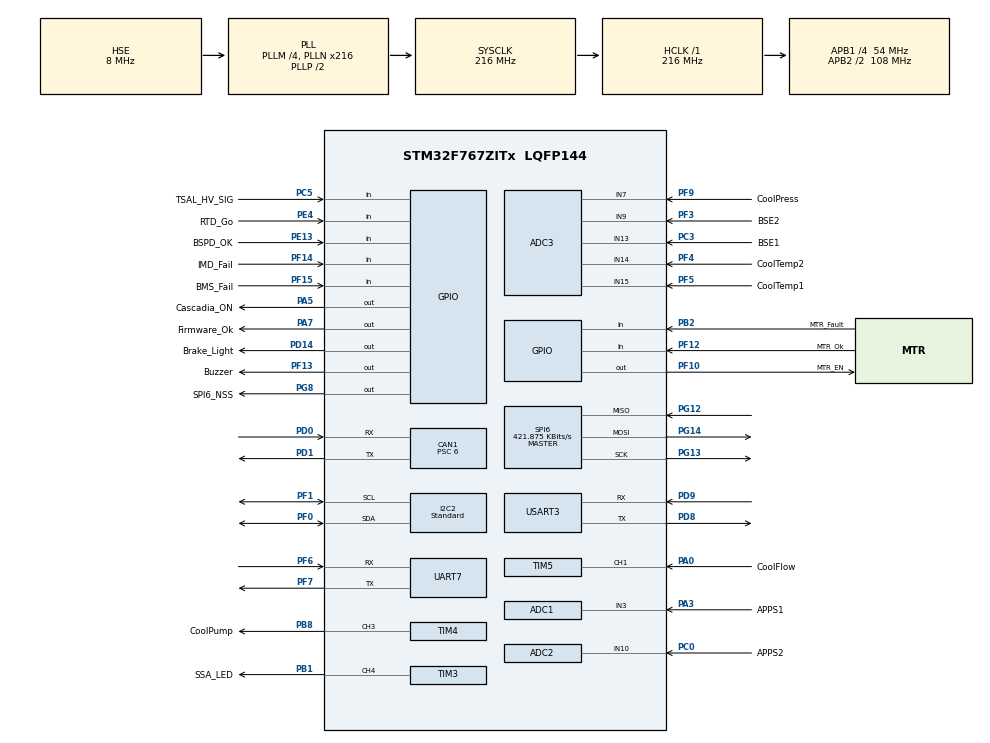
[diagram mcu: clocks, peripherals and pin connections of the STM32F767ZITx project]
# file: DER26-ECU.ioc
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ADC1.Channel-0\#ChannelRegularConversion=ADC_CHANNEL_3
ADC1.ClockPrescaler=ADC_CLOCK_SYNC_PCLK_DIV6
ADC1.NbrOfConversionFlag=1
ADC1.Rank-0\#ChannelRegularConversion=1
ADC1.SamplingTime-0\#ChannelRegularConversion=ADC_SAMPLETIME_56CYCLES
ADC1.master=1
ADC2.Channel-1\#ChannelRegularConversion=ADC_CHANNEL_10
ADC2.ClockPrescaler=ADC_CLOCK_SYNC_PCLK_DIV6
ADC2.NbrOfConversionFlag=1
ADC2.Rank-1\#ChannelRegularConversion=1
ADC2.SamplingTime-1\#ChannelRegularConversion=ADC_SAMPLETIME_56CYCLES
ADC3.Channel-0\#ChannelRegularConversion=ADC_CHANNEL_13
ADC3.ClockPrescaler=ADC_CLOCK_SYNC_PCLK_DIV6
ADC3.NbrOfConversionFlag=1
ADC3.Rank-0\#ChannelRegularConversion=1
ADC3.SamplingTime-0\#ChannelRegularConversion=ADC_SAMPLETIME_56CYCLES
CAN1.ABOM=ENABLE
CAN1.AWUM=ENABLE
CAN1.BS1=CAN_BS1_15TQ
CAN1.BS2=CAN_BS2_2TQ
CAN1.SJW=CAN_SJW_2TQ
CAN1.CalculateBaudRate=500000
CAN1.CalculateTimeBit=2000
CAN1.CalculateTimeQuantum=111.11111111111111
CAN1.NART=DISABLE
CAN1.Prescaler=6
FREERTOS.Tasks01=dev_task,24,128,dev_task_fn,As weak,NULL,Dynamic,NULL,NULL
FREERTOS.configCHECK_FOR_STACK_OVERFLOW=2
FREERTOS.configENABLE_FPU=1
FREERTOS.configUSE_NEWLIB_REENTRANT=1
I2C2.Analog_Filter=I2C_ANALOGFILTER_DISABLE
I2C2.I2C_Fall_Time=0
I2C2.I2C_Rise_Time=0
I2C2.I2C_Speed_Mode=I2C_Standard
I2C2.Timing=0x00303D5D
Mcu.Family=STM32F7
Mcu.Name=STM32F767ZITx
Mcu.Package=LQFP144
NVIC.CAN1_RX0_IRQn=true\:5\:0\:false\:false\:true\:true\:true\:true\:true
NVIC.CAN1_TX_IRQn=true\:5\:0\:false\:false\:true\:true\:true\:true\:true
NVIC.CAN1_SCE_IRQn=true\:5\:0\:false\:false\:true\:true\:true\:true\:true
NVIC.PriorityGroup=NVIC_PRIORITYGROUP_4
NVIC.TIM5_IRQn=true\:5\:0\:false\:false\:true\:true\:true\:true\:true
NVIC.TIM7_IRQn=true\:15\:0\:false\:false\:true\:false\:false\:true\:true
NVIC.TimeBase=TIM7_IRQn
NVIC.TimeBaseIP=TIM7
NVIC.UART7_IRQn=true\:5\:0\:false\:false\:true\:true\:true\:true\:true
NVIC.USART3_IRQn=true\:15\:0\:true\:false\:true\:true\:true\:true\:true
PA0/WKUP.GPIO_Label=CoolFlow
PA0/WKUP.Signal=S_TIM5_CH1
PA13.GPIO_Label=TMS
PA13.Mode=Serial_Wire
PA13.Signal=SYS_JTMS-SWDIO
PA14.GPIO_Label=TCK
PA14.Mode=Serial_Wire
PA14.Signal=SYS_JTCK-SWCLK
PA3.GPIO_Label=APPS1
PA3.Signal=ADCx_IN3
PA5.GPIO_Label=Cascadia_ON
PA5.Signal=GPIO_Output
PA7.GPIO_Label=Firmware_Ok
PA7.Signal=GPIO_Output
PB1.GPIO_Label=SSA_LED
PB1.Signal=S_TIM3_CH4
PB2.GPIO_Label=MTR_Fault
PB2.GPIO_PuPd=GPIO_PULLUP
PB2.Signal=GPIO_Input
PB3.GPIO_Label=SWO
PB3.Signal=SYS_JTDO-SWO
PB8.GPIO_Label=CoolPump
PB8.Signal=S_TIM4_CH3
PC0.GPIO_Label=APPS2
PC0.Signal=ADCx_IN10
PC14/OSC32_IN.Mode=LSE-External-Oscillator
PC14/OSC32_IN.Signal=RCC_OSC32_IN
PC15/OSC32_OUT.Mode=LSE-External-Oscillator
PC15/OSC32_OUT.Signal=RCC_OSC32_OUT
PC3.GPIO_Label=BSE1
PC3.Signal=ADCx_IN13
PC5.GPIO_Label=TSAL_HV_SIG
PC5.GPIO_PuPd=GPIO_PULLDOWN
PC5.Signal=GPIO_Input
PD0.Mode=CAN_Activate
PD0.Signal=CAN1_RX
PD1.Mode=CAN_Activate
PD1.Signal=CAN1_TX
PD14.GPIO_Label=Brake_Light
PD14.Signal=GPIO_Output
PD8.Mode=Asynchronous
PD8.Signal=USART3_TX
PD9.Mode=Asynchronous
PD9.Signal=USART3_RX
PE13.GPIO_Label=BSPD_OK
PE13.GPIO_PuPd=GPIO_PULLDOWN
PE13.Signal=GPIO_Input
PE4.GPIO_Label=RTD_Go
PE4.GPIO_PuPd=GPIO_PULLUP
PE4.Signal=GPIO_Input
PF0.Mode=I2C
PF0.Signal=I2C2_SDA
PF1.Mode=I2C
PF1.Signal=I2C2_SCL
PF10.GPIO_Label=MTR_EN
PF10.Signal=GPIO_Output
PF12.GPIO_Label=MTR_Ok
PF12.GPIO_PuPd=GPIO_PULLUP
PF12.Signal=GPIO_Input
PF13.GPIO_Label=Buzzer
PF13.Signal=GPIO_Output
PF14.GPIO_Label=IMD_Fail
PF14.GPIO_PuPd=GPIO_PULLUP
PF14.Signal=GPIO_Input
PF15.GPIO_Label=BMS_Fail
PF15.GPIO_PuPd=GPIO_PULLUP
PF15.Signal=GPIO_Input
PF3.GPIO_Label=BSE2
PF3.Mode=IN9
PF3.Signal=ADC3_IN9
PF4.GPIO_Label=CoolTemp2
PF4.Mode=IN14
PF4.Signal=ADC3_IN14
PF5.GPIO_Label=CoolTemp1
PF5.Mode=IN15
PF5.Signal=ADC3_IN15
PF6.Mode=Asynchronous
PF6.Signal=UART7_RX
PF7.Mode=Asynchronous
PF7.Signal=UART7_TX
PF9.GPIO_Label=CoolPress
PF9.Mode=IN7
PF9.Signal=ADC3_IN7
PG12.Mode=Full_Duplex_Master
PG12.Signal=SPI6_MISO
PG13.Mode=Full_Duplex_Master
PG13.Signal=SPI6_SCK
PG14.Mode=Full_Duplex_Master
PG14.Signal=SPI6_MOSI
PG8.GPIO_Label=SPI6_NSS
PG8.Signal=GPIO_Output
PH0/OSC_IN.Mode=HSE-External-Oscillator
PH0/OSC_IN.Signal=RCC_OSC_IN
PH1/OSC_OUT.Mode=HSE-External-Oscillator
PH1/OSC_OUT.Signal=RCC_OSC_OUT
ProjectManager.HeapSize=0x200
ProjectManager.StackSize=0x400
ProjectManager.TargetToolchain=STM32CubeIDE
RCC.AHBFreq_Value=216000000
RCC.APB1CLKDivider=RCC_HCLK_DIV4
RCC.APB1Freq_Value=54000000
RCC.APB1TimFreq_Value=108000000
RCC.APB2CLKDivider=RCC_HCLK_DIV2
RCC.APB2Freq_Value=108000000
RCC.APB2TimFreq_Value=216000000
RCC.CortexFreq_Value=216000000
RCC.HCLKFreq_Value=216000000
RCC.HSE_VALUE=8000000
RCC.HSI_VALUE=16000000
RCC.I2C2CLockSelection=RCC_I2C2CLKSOURCE_HSI
RCC.PLLM=4
RCC.PLLN=216
RCC.PLLSourceVirtual=RCC_PLLSOURCE_HSE
RCC.RTCClockSelection=RCC_RTCCLKSOURCE_LSE
RCC.SYSCLKFreq_VALUE=216000000
RCC.SYSCLKSource=RCC_SYSCLKSOURCE_PLLCLK
RCC.USBFreq_Value=216000000
RCC.VCOOutputFreq_Value=432000000
RTC.StoreOperation=RTC_STOREOPERATION_SET
SH.ADCx_IN10.0=ADC2_IN10,IN10
SH.ADCx_IN13.0=ADC3_IN13,IN13
SH.ADCx_IN3.0=ADC1_IN3,IN3
SH.S_TIM3_CH4.0=TIM3_CH4,PWM Generation4 CH4
SH.S_TIM4_CH3.0=TIM4_CH3,PWM Generation3 CH3
SH.S_TIM5_CH1.0=TIM5_CH1,PWM_Input_1
SPI6.BaudRatePrescaler=SPI_BAUDRATEPRESCALER_256
SPI6.CalculateBaudRate=421.875 KBits/s
SPI6.Direction=SPI_DIRECTION_2LINES
SPI6.DataSize=SPI_DATASIZE_8BIT
SPI6.NSSPMode=SPI_NSS_PULSE_DISABLE
SPI6.Mode=SPI_MODE_MASTER
SPI6.VirtualType=VM_MASTER
TIM3.AutoReloadPreload=TIM_AUTORELOAD_PRELOAD_ENABLE
TIM3.Channel-PWM\ Generation4\ CH4=TIM_CHANNEL_4
TIM4.AutoReloadPreload=TIM_AUTORELOAD_PRELOAD_ENABLE
TIM4.Channel-PWM\ Generation3\ CH3=TIM_CHANNEL_3
TIM4.ClockDivision=TIM_CLOCKDIVISION_DIV1
TIM4.Prescaler=17
TIM5.AutoReloadPreload=TIM_AUTORELOAD_PRELOAD_DISABLE
USART3.SwapParam=ADVFEATURE_SWAP_DISABLE
USART3.VirtualMode-Asynchronous=VM_ASYNC
VP_FREERTOS_VS_CMSIS_V2.Mode=CMSIS_V2
VP_RTC_VS_RTC_Activate.Mode=RTC_Enabled
VP_RTC_VS_RTC_Calendar.Mode=RTC_Calendar
VP_SYS_VS_tim7.Mode=TIM7
VP_TIM3_VS_ClockSourceINT.Mode=Internal
VP_TIM4_VS_ClockSourceINT.Mode=Internal
VP_TIM5_VS_ClockSourceINT.Mode=Internal
board=custom

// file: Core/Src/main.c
/* USER CODE BEGIN Header */
/**
  ******************************************************************************
  * @file           : main.c
  * @brief          : Main program body
  ******************************************************************************
  * @attention
  *
  * Copyright (c) 2024 STMicroelectronics.
  * All rights reserved.
  *
  * This software is licensed under terms that can be found in the LICENSE file
  * in the root directory of this software component.
  * If no LICENSE file comes with this software, it is provided AS-IS.
  *
  ******************************************************************************
  */
/* USER CODE END Header */
#include "main.h"
#include "cmsis_os.h"

/* USER CODE BEGIN Includes */
#include "app.h"
/* USER CODE END Includes */

ADC_HandleTypeDef hadc1;
ADC_HandleTypeDef hadc2;
ADC_HandleTypeDef hadc3;

CAN_HandleTypeDef hcan1;

I2C_HandleTypeDef hi2c2;

RTC_HandleTypeDef hrtc;

SPI_HandleTypeDef hspi6;

TIM_HandleTypeDef htim3;
TIM_HandleTypeDef htim4;
TIM_HandleTypeDef htim5;

UART_HandleTypeDef huart7;
UART_HandleTypeDef huart3;

/* Definitions for dev_task */
osThreadId_t dev_taskHandle;
const osThreadAttr_t dev_task_attributes = {
  .name = "dev_task",
  .stack_size = 128 * 4,
  .priority = (osPriority_t) osPriorityNormal,
};

void SystemClock_Config(void);
void dev_task_fn(void *argument);

int main(void)
{

  /* MCU Configuration--------------------------------------------------------*/

  /* Reset of all peripherals, Initializes the Flash interface and the Systick. */
  HAL_Init();

  /* Configure the system clock */
  SystemClock_Config();

  /* Initialize all configured peripherals */
  MX_GPIO_Init();
  MX_CAN1_Init();
  MX_ADC1_Init();
  MX_ADC3_Init();
  MX_SPI6_Init();
  MX_TIM5_Init();
  MX_USART3_UART_Init();
  MX_UART7_Init();
  MX_RTC_Init();
  MX_ADC2_Init();
  MX_I2C2_Init();
  MX_TIM3_Init();
  MX_TIM4_Init();

  /* Init scheduler */
  osKernelInitialize();

  /* USER CODE BEGIN RTOS_QUEUES */
  /* add queues, ... */
#if 0
  /* USER CODE END RTOS_QUEUES */

  /* Create the thread(s) */
  /* creation of dev_task */
  dev_taskHandle = osThreadNew(dev_task_fn, NULL, &dev_task_attributes);

  /* USER CODE BEGIN RTOS_THREADS */
  /* add threads, ... */
#endif
  app_create();
  ecu_watchdog_init();
  /* USER CODE END RTOS_THREADS */

  /* Start scheduler */
  osKernelStart();

  ecu_force_safe_outputs();

  /* We should never get here as control is now taken by the scheduler */

  /* Infinite loop */
  while (1)
  {

  }
}

void SystemClock_Config(void)
{
  RCC_OscInitTypeDef RCC_OscInitStruct = {0};
  RCC_ClkInitTypeDef RCC_ClkInitStruct = {0};

  /** Configure LSE Drive Capability
  */
  HAL_PWR_EnableBkUpAccess();
  __HAL_RCC_LSEDRIVE_CONFIG(RCC_LSEDRIVE_LOW);

  /** Configure the main internal regulator output voltage
  */
  __HAL_RCC_PWR_CLK_ENABLE();
  __HAL_PWR_VOLTAGESCALING_CONFIG(PWR_REGULATOR_VOLTAGE_SCALE1);

  /** Initializes the RCC Oscillators according to the specified parameters
  * in the RCC_OscInitTypeDef structure.
  */
  RCC_OscInitStruct.OscillatorType = RCC_OSCILLATORTYPE_HSI|RCC_OSCILLATORTYPE_HSE
                              |RCC_OSCILLATORTYPE_LSE;
  RCC_OscInitStruct.HSEState = RCC_HSE_ON;
  RCC_OscInitStruct.LSEState = RCC_LSE_ON;
  RCC_OscInitStruct.HSIState = RCC_HSI_ON;
  RCC_OscInitStruct.HSICalibrationValue = RCC_HSICALIBRATION_DEFAULT;
  RCC_OscInitStruct.PLL.PLLState = RCC_PLL_ON;
  RCC_OscInitStruct.PLL.PLLSource = RCC_PLLSOURCE_HSE;
  RCC_OscInitStruct.PLL.PLLM = 4;
  RCC_OscInitStruct.PLL.PLLN = 216;
  RCC_OscInitStruct.PLL.PLLP = RCC_PLLP_DIV2;
  RCC_OscInitStruct.PLL.PLLQ = 2;
  RCC_OscInitStruct.PLL.PLLR = 2;
  if (HAL_RCC_OscConfig(&RCC_OscInitStruct) != HAL_OK)
  {
    Error_Handler();
  }

  /** Activate the Over-Drive mode
  */
  if (HAL_PWREx_EnableOverDrive() != HAL_OK)
  {
    Error_Handler();
  }

  /** Initializes the CPU, AHB and APB buses clocks
  */
  RCC_ClkInitStruct.ClockType = RCC_CLOCKTYPE_HCLK|RCC_CLOCKTYPE_SYSCLK
                              |RCC_CLOCKTYPE_PCLK1|RCC_CLOCKTYPE_PCLK2;
  RCC_ClkInitStruct.SYSCLKSource = RCC_SYSCLKSOURCE_PLLCLK;
  RCC_ClkInitStruct.AHBCLKDivider = RCC_SYSCLK_DIV1;
  RCC_ClkInitStruct.APB1CLKDivider = RCC_HCLK_DIV4;
  RCC_ClkInitStruct.APB2CLKDivider = RCC_HCLK_DIV2;

  if (HAL_RCC_ClockConfig(&RCC_ClkInitStruct, FLASH_LATENCY_7) != HAL_OK)
  {
    Error_Handler();
  }
}

void MX_ADC1_Init(void)
{

  ADC_ChannelConfTypeDef sConfig = {0};

  /** Configure the global features of the ADC (Clock, Resolution, Data Alignment and number of conversion)
  */
  hadc1.Instance = ADC1;
  hadc1.Init.ClockPrescaler = ADC_CLOCK_SYNC_PCLK_DIV6;
  hadc1.Init.Resolution = ADC_RESOLUTION_12B;
  hadc1.Init.ScanConvMode = ADC_SCAN_DISABLE;
  hadc1.Init.ContinuousConvMode = DISABLE;
  hadc1.Init.DiscontinuousConvMode = DISABLE;
  hadc1.Init.ExternalTrigConvEdge = ADC_EXTERNALTRIGCONVEDGE_NONE;
  hadc1.Init.ExternalTrigConv = ADC_SOFTWARE_START;
  hadc1.Init.DataAlign = ADC_DATAALIGN_RIGHT;
  hadc1.Init.NbrOfConversion = 1;
  hadc1.Init.DMAContinuousRequests = DISABLE;
  hadc1.Init.EOCSelection = ADC_EOC_SINGLE_CONV;
  if (HAL_ADC_Init(&hadc1) != HAL_OK)
  {
    Error_Handler();
  }

  /** Configure for the selected ADC regular channel its corresponding rank in the sequencer and its sample time.
  */
  sConfig.Channel = ADC_CHANNEL_3;
  sConfig.Rank = ADC_REGULAR_RANK_1;
  sConfig.SamplingTime = ADC_SAMPLETIME_56CYCLES;
  if (HAL_ADC_ConfigChannel(&hadc1, &sConfig) != HAL_OK)
  {
    Error_Handler();
  }

}

void MX_ADC2_Init(void)
{

  ADC_ChannelConfTypeDef sConfig = {0};

  /** Configure the global features of the ADC (Clock, Resolution, Data Alignment and number of conversion)
  */
  hadc2.Instance = ADC2;
  hadc2.Init.ClockPrescaler = ADC_CLOCK_SYNC_PCLK_DIV6;
  hadc2.Init.Resolution = ADC_RESOLUTION_12B;
  hadc2.Init.ScanConvMode = ADC_SCAN_DISABLE;
  hadc2.Init.ContinuousConvMode = DISABLE;
  hadc2.Init.DiscontinuousConvMode = DISABLE;
  hadc2.Init.ExternalTrigConvEdge = ADC_EXTERNALTRIGCONVEDGE_NONE;
  hadc2.Init.ExternalTrigConv = ADC_SOFTWARE_START;
  hadc2.Init.DataAlign = ADC_DATAALIGN_RIGHT;
  hadc2.Init.NbrOfConversion = 1;
  hadc2.Init.DMAContinuousRequests = DISABLE;
  hadc2.Init.EOCSelection = ADC_EOC_SINGLE_CONV;
  if (HAL_ADC_Init(&hadc2) != HAL_OK)
  {
    Error_Handler();
  }

  /** Configure for the selected ADC regular channel its corresponding rank in the sequencer and its sample time.
  */
  sConfig.Channel = ADC_CHANNEL_10;
  sConfig.Rank = ADC_REGULAR_RANK_1;
  sConfig.SamplingTime = ADC_SAMPLETIME_56CYCLES;
  if (HAL_ADC_ConfigChannel(&hadc2, &sConfig) != HAL_OK)
  {
    Error_Handler();
  }

}

void MX_ADC3_Init(void)
{

  ADC_ChannelConfTypeDef sConfig = {0};

  /** Configure the global features of the ADC (Clock, Resolution, Data Alignment and number of conversion)
  */
  hadc3.Instance = ADC3;
  hadc3.Init.ClockPrescaler = ADC_CLOCK_SYNC_PCLK_DIV6;
  hadc3.Init.Resolution = ADC_RESOLUTION_12B;
  hadc3.Init.ScanConvMode = ADC_SCAN_DISABLE;
  hadc3.Init.ContinuousConvMode = DISABLE;
  hadc3.Init.DiscontinuousConvMode = DISABLE;
  hadc3.Init.ExternalTrigConvEdge = ADC_EXTERNALTRIGCONVEDGE_NONE;
  hadc3.Init.ExternalTrigConv = ADC_SOFTWARE_START;
  hadc3.Init.DataAlign = ADC_DATAALIGN_RIGHT;
  hadc3.Init.NbrOfConversion = 1;
  hadc3.Init.DMAContinuousRequests = DISABLE;
  hadc3.Init.EOCSelection = ADC_EOC_SINGLE_CONV;
  if (HAL_ADC_Init(&hadc3) != HAL_OK)
  {
    Error_Handler();
  }

  /** Configure for the selected ADC regular channel its corresponding rank in the sequencer and its sample time.
  */
  sConfig.Channel = ADC_CHANNEL_13;
  sConfig.Rank = ADC_REGULAR_RANK_1;
  sConfig.SamplingTime = ADC_SAMPLETIME_56CYCLES;
  if (HAL_ADC_ConfigChannel(&hadc3, &sConfig) != HAL_OK)
  {
    Error_Handler();
  }

}

void MX_CAN1_Init(void)
{

  /* USER CODE BEGIN CAN1_Init 0 */
  /* Acceptance filters are owned by canbus_device_init() and are installed
   * before HAL_CAN_Start().  Do not add a permissive catch-all filter here. */
  /* USER CODE END CAN1_Init 0 */

  hcan1.Instance = CAN1;
  hcan1.Init.Prescaler = DER26_CAN_PRESCALER;
  hcan1.Init.Mode = CAN_MODE_NORMAL;
  hcan1.Init.SyncJumpWidth = DER26_CAN_SJW;
  hcan1.Init.TimeSeg1 = DER26_CAN_BS1;
  hcan1.Init.TimeSeg2 = DER26_CAN_BS2;
  hcan1.Init.TimeTriggeredMode = DISABLE;
  hcan1.Init.AutoBusOff = ENABLE;
  hcan1.Init.AutoWakeUp = ENABLE;
  hcan1.Init.AutoRetransmission = DISABLE;
  hcan1.Init.ReceiveFifoLocked = DISABLE;
  hcan1.Init.TransmitFifoPriority = DISABLE;
  if (HAL_CAN_Init(&hcan1) != HAL_OK)
  {
    Error_Handler();
  }
  /* USER CODE BEGIN CAN1_Init 2 */
  /* CAN notifications are activated once, after canbus_device_init() has
   * installed acceptance filters and started the peripheral.  app_create()
   * owns that checked activation step. */
  /* USER CODE END CAN1_Init 2 */

}

void MX_I2C2_Init(void)
{

  hi2c2.Instance = I2C2;
  hi2c2.Init.Timing = 0x00303D5D;
  hi2c2.Init.OwnAddress1 = 0;
  hi2c2.Init.AddressingMode = I2C_ADDRESSINGMODE_7BIT;
  hi2c2.Init.DualAddressMode = I2C_DUALADDRESS_DISABLE;
  hi2c2.Init.OwnAddress2 = 0;
  hi2c2.Init.OwnAddress2Masks = I2C_OA2_NOMASK;
  hi2c2.Init.GeneralCallMode = I2C_GENERALCALL_DISABLE;
  hi2c2.Init.NoStretchMode = I2C_NOSTRETCH_DISABLE;
  if (HAL_I2C_Init(&hi2c2) != HAL_OK)
  {
    Error_Handler();
  }

  /** Configure Analogue filter
  */
  if (HAL_I2CEx_ConfigAnalogFilter(&hi2c2, I2C_ANALOGFILTER_DISABLE) != HAL_OK)
  {
    Error_Handler();
  }

  /** Configure Digital filter
  */
  if (HAL_I2CEx_ConfigDigitalFilter(&hi2c2, 0) != HAL_OK)
  {
    Error_Handler();
  }

}

void MX_RTC_Init(void)
{

  RTC_TimeTypeDef sTime = {0};
  RTC_DateTypeDef sDate = {0};

  /** Initialize RTC Only
  */
  hrtc.Instance = RTC;
  hrtc.Init.HourFormat = RTC_HOURFORMAT_24;
  hrtc.Init.AsynchPrediv = 127;
  hrtc.Init.SynchPrediv = 255;
  hrtc.Init.OutPut = RTC_OUTPUT_DISABLE;
  hrtc.Init.OutPutPolarity = RTC_OUTPUT_POLARITY_HIGH;
  hrtc.Init.OutPutType = RTC_OUTPUT_TYPE_OPENDRAIN;
  if (HAL_RTC_Init(&hrtc) != HAL_OK)
  {
    Error_Handler();
  }

  /* USER CODE BEGIN Check_RTC_BKUP */
  uint32_t bk = HAL_RTCEx_BKUPRead(&hrtc, RTC_BKP_DR0);
  if(bk != '*')
  {
  /* USER CODE END Check_RTC_BKUP */

  /** Initialize RTC and set the Time and Date
  */
  sTime.Hours = 0x0;
  sTime.Minutes = 0x0;
  sTime.Seconds = 0x0;
  sTime.DayLightSaving = RTC_DAYLIGHTSAVING_NONE;
  sTime.StoreOperation = RTC_STOREOPERATION_SET;
  if (HAL_RTC_SetTime(&hrtc, &sTime, RTC_FORMAT_BCD) != HAL_OK)
  {
    Error_Handler();
  }
  sDate.WeekDay = RTC_WEEKDAY_MONDAY;
  sDate.Month = RTC_MONTH_JANUARY;
  sDate.Date = 0x1;
  sDate.Year = 0x0;

  if (HAL_RTC_SetDate(&hrtc, &sDate, RTC_FORMAT_BCD) != HAL_OK)
  {
    Error_Handler();
  }
  /* USER CODE BEGIN RTC_Init 2 */
  	  HAL_RTCEx_BKUPWrite(&hrtc, RTC_BKP_DR0, '*');
  } /* end if(bk != '*') */
  /* USER CODE END RTC_Init 2 */

}

void MX_SPI6_Init(void)
{

  /* SPI6 parameter configuration*/
  hspi6.Instance = SPI6;
  hspi6.Init.Mode = SPI_MODE_MASTER;
  hspi6.Init.Direction = SPI_DIRECTION_2LINES;
  hspi6.Init.DataSize = SPI_DATASIZE_8BIT;
  hspi6.Init.CLKPolarity = SPI_POLARITY_LOW;
  hspi6.Init.CLKPhase = SPI_PHASE_1EDGE;
  hspi6.Init.NSS = SPI_NSS_SOFT;
  hspi6.Init.BaudRatePrescaler = SPI_BAUDRATEPRESCALER_256;
  hspi6.Init.FirstBit = SPI_FIRSTBIT_MSB;
  hspi6.Init.TIMode = SPI_TIMODE_DISABLE;
  hspi6.Init.CRCCalculation = SPI_CRCCALCULATION_DISABLE;
  hspi6.Init.CRCPolynomial = 7;
  hspi6.Init.CRCLength = SPI_CRC_LENGTH_DATASIZE;
  hspi6.Init.NSSPMode = SPI_NSS_PULSE_DISABLE;
  if (HAL_SPI_Init(&hspi6) != HAL_OK)
  {
    Error_Handler();
  }

}

void MX_TIM3_Init(void)
{

  TIM_ClockConfigTypeDef sClockSourceConfig = {0};
  TIM_MasterConfigTypeDef sMasterConfig = {0};
  TIM_OC_InitTypeDef sConfigOC = {0};

  htim3.Instance = TIM3;
  htim3.Init.Prescaler = 0;
  htim3.Init.CounterMode = TIM_COUNTERMODE_UP;
  htim3.Init.Period = 65535;
  htim3.Init.ClockDivision = TIM_CLOCKDIVISION_DIV1;
  htim3.Init.AutoReloadPreload = TIM_AUTORELOAD_PRELOAD_ENABLE;
  if (HAL_TIM_Base_Init(&htim3) != HAL_OK)
  {
    Error_Handler();
  }
  sClockSourceConfig.ClockSource = TIM_CLOCKSOURCE_INTERNAL;
  if (HAL_TIM_ConfigClockSource(&htim3, &sClockSourceConfig) != HAL_OK)
  {
    Error_Handler();
  }
  if (HAL_TIM_PWM_Init(&htim3) != HAL_OK)
  {
    Error_Handler();
  }
  sMasterConfig.MasterOutputTrigger = TIM_TRGO_RESET;
  sMasterConfig.MasterSlaveMode = TIM_MASTERSLAVEMODE_DISABLE;
  if (HAL_TIMEx_MasterConfigSynchronization(&htim3, &sMasterConfig) != HAL_OK)
  {
    Error_Handler();
  }
  sConfigOC.OCMode = TIM_OCMODE_PWM1;
  sConfigOC.Pulse = 0;
  sConfigOC.OCPolarity = TIM_OCPOLARITY_HIGH;
  sConfigOC.OCFastMode = TIM_OCFAST_DISABLE;
  if (HAL_TIM_PWM_ConfigChannel(&htim3, &sConfigOC, TIM_CHANNEL_4) != HAL_OK)
  {
    Error_Handler();
  }
  HAL_TIM_MspPostInit(&htim3);

}

void MX_TIM4_Init(void)
{

  TIM_ClockConfigTypeDef sClockSourceConfig = {0};
  TIM_MasterConfigTypeDef sMasterConfig = {0};
  TIM_OC_InitTypeDef sConfigOC = {0};

  htim4.Instance = TIM4;
  htim4.Init.Prescaler = 17;
  htim4.Init.CounterMode = TIM_COUNTERMODE_UP;
  htim4.Init.Period = 59999;
  htim4.Init.ClockDivision = TIM_CLOCKDIVISION_DIV1;
  htim4.Init.AutoReloadPreload = TIM_AUTORELOAD_PRELOAD_ENABLE;
  if (HAL_TIM_Base_Init(&htim4) != HAL_OK)
  {
    Error_Handler();
  }
  sClockSourceConfig.ClockSource = TIM_CLOCKSOURCE_INTERNAL;
  if (HAL_TIM_ConfigClockSource(&htim4, &sClockSourceConfig) != HAL_OK)
  {
    Error_Handler();
  }
  if (HAL_TIM_PWM_Init(&htim4) != HAL_OK)
  {
    Error_Handler();
  }
  sMasterConfig.MasterOutputTrigger = TIM_TRGO_RESET;
  sMasterConfig.MasterSlaveMode = TIM_MASTERSLAVEMODE_DISABLE;
  if (HAL_TIMEx_MasterConfigSynchronization(&htim4, &sMasterConfig) != HAL_OK)
  {
    Error_Handler();
  }
  sConfigOC.OCMode = TIM_OCMODE_PWM1;
  sConfigOC.Pulse = 0;
  sConfigOC.OCPolarity = TIM_OCPOLARITY_HIGH;
  sConfigOC.OCFastMode = TIM_OCFAST_DISABLE;
  if (HAL_TIM_PWM_ConfigChannel(&htim4, &sConfigOC, TIM_CHANNEL_3) != HAL_OK)
  {
    Error_Handler();
  }
  HAL_TIM_MspPostInit(&htim4);

}

void MX_TIM5_Init(void)
{

  TIM_ClockConfigTypeDef sClockSourceConfig = {0};
  TIM_SlaveConfigTypeDef sSlaveConfig = {0};
  TIM_IC_InitTypeDef sConfigIC = {0};
  TIM_MasterConfigTypeDef sMasterConfig = {0};

  htim5.Instance = TIM5;
  htim5.Init.Prescaler = 0;
  htim5.Init.CounterMode = TIM_COUNTERMODE_UP;
  htim5.Init.Period = 4294967295;
  htim5.Init.ClockDivision = TIM_CLOCKDIVISION_DIV1;
  htim5.Init.AutoReloadPreload = TIM_AUTORELOAD_PRELOAD_DISABLE;
  if (HAL_TIM_Base_Init(&htim5) != HAL_OK)
  {
    Error_Handler();
  }
  sClockSourceConfig.ClockSource = TIM_CLOCKSOURCE_INTERNAL;
  if (HAL_TIM_ConfigClockSource(&htim5, &sClockSourceConfig) != HAL_OK)
  {
    Error_Handler();
  }
  if (HAL_TIM_IC_Init(&htim5) != HAL_OK)
  {
    Error_Handler();
  }
  sSlaveConfig.SlaveMode = TIM_SLAVEMODE_RESET;
  sSlaveConfig.InputTrigger = TIM_TS_TI1FP1;
  sSlaveConfig.TriggerPolarity = TIM_INPUTCHANNELPOLARITY_RISING;
  sSlaveConfig.TriggerPrescaler = TIM_ICPSC_DIV1;
  sSlaveConfig.TriggerFilter = 0;
  if (HAL_TIM_SlaveConfigSynchro(&htim5, &sSlaveConfig) != HAL_OK)
  {
    Error_Handler();
  }
  sConfigIC.ICPolarity = TIM_INPUTCHANNELPOLARITY_RISING;
  sConfigIC.ICSelection = TIM_ICSELECTION_DIRECTTI;
  sConfigIC.ICPrescaler = TIM_ICPSC_DIV1;
  sConfigIC.ICFilter = 0;
  if (HAL_TIM_IC_ConfigChannel(&htim5, &sConfigIC, TIM_CHANNEL_1) != HAL_OK)
  {
    Error_Handler();
  }
  sConfigIC.ICPolarity = TIM_INPUTCHANNELPOLARITY_FALLING;
  sConfigIC.ICSelection = TIM_ICSELECTION_INDIRECTTI;
  if (HAL_TIM_IC_ConfigChannel(&htim5, &sConfigIC, TIM_CHANNEL_2) != HAL_OK)
  {
    Error_Handler();
  }
  sMasterConfig.MasterOutputTrigger = TIM_TRGO_RESET;
  sMasterConfig.MasterSlaveMode = TIM_MASTERSLAVEMODE_DISABLE;
  if (HAL_TIMEx_MasterConfigSynchronization(&htim5, &sMasterConfig) != HAL_OK)
  {
    Error_Handler();
  }

}

void MX_UART7_Init(void)
{

  huart7.Instance = UART7;
  huart7.Init.BaudRate = 115200;
  huart7.Init.WordLength = UART_WORDLENGTH_8B;
  huart7.Init.StopBits = UART_STOPBITS_1;
  huart7.Init.Parity = UART_PARITY_NONE;
  huart7.Init.Mode = UART_MODE_TX_RX;
  huart7.Init.HwFlowCtl = UART_HWCONTROL_NONE;
  huart7.Init.OverSampling = UART_OVERSAMPLING_16;
  huart7.Init.OneBitSampling = UART_ONE_BIT_SAMPLE_DISABLE;
  huart7.AdvancedInit.AdvFeatureInit = UART_ADVFEATURE_NO_INIT;
  if (HAL_UART_Init(&huart7) != HAL_OK)
  {
    Error_Handler();
  }

}

void MX_USART3_UART_Init(void)
{

  huart3.Instance = USART3;
  huart3.Init.BaudRate = 115200;
  huart3.Init.WordLength = UART_WORDLENGTH_8B;
  huart3.Init.StopBits = UART_STOPBITS_1;
  huart3.Init.Parity = UART_PARITY_NONE;
  huart3.Init.Mode = UART_MODE_TX_RX;
  huart3.Init.HwFlowCtl = UART_HWCONTROL_NONE;
  huart3.Init.OverSampling = UART_OVERSAMPLING_16;
  huart3.Init.OneBitSampling = UART_ONE_BIT_SAMPLE_DISABLE;
  huart3.AdvancedInit.AdvFeatureInit = UART_ADVFEATURE_NO_INIT;
  if (HAL_UART_Init(&huart3) != HAL_OK)
  {
    Error_Handler();
  }

}

void MX_GPIO_Init(void)
{
  GPIO_InitTypeDef GPIO_InitStruct = {0};

  /* GPIO Ports Clock Enable */
  __HAL_RCC_GPIOE_CLK_ENABLE();
  __HAL_RCC_GPIOC_CLK_ENABLE();
  __HAL_RCC_GPIOF_CLK_ENABLE();
  __HAL_RCC_GPIOH_CLK_ENABLE();
  __HAL_RCC_GPIOA_CLK_ENABLE();
  __HAL_RCC_GPIOB_CLK_ENABLE();
  __HAL_RCC_GPIOG_CLK_ENABLE();
  __HAL_RCC_GPIOD_CLK_ENABLE();

  /*Configure GPIO pin Output Level */
  HAL_GPIO_WritePin(GPIOF, MTR_EN_Pin|Buzzer_Pin, GPIO_PIN_RESET);

  /*Configure GPIO pin Output Level */
  HAL_GPIO_WritePin(GPIOA, Cascadia_ON_Pin|Firmware_Ok_Pin, GPIO_PIN_RESET);

  /*Configure GPIO pin Output Level */
  HAL_GPIO_WritePin(Brake_Light_GPIO_Port, Brake_Light_Pin, GPIO_PIN_RESET);

  /*Configure GPIO pin Output Level */
  HAL_GPIO_WritePin(SPI6_NSS_GPIO_Port, SPI6_NSS_Pin, GPIO_PIN_SET);

  /*Configure GPIO pins : PE2 PE3 PE5 PE6
                           PE7 PE8 PE9 PE10
                           PE11 PE12 PE14 PE15
                           PE0 PE1 */
  GPIO_InitStruct.Pin = GPIO_PIN_2|GPIO_PIN_3|GPIO_PIN_5|GPIO_PIN_6
                          |GPIO_PIN_7|GPIO_PIN_8|GPIO_PIN_9|GPIO_PIN_10
                          |GPIO_PIN_11|GPIO_PIN_12|GPIO_PIN_14|GPIO_PIN_15
                          |GPIO_PIN_0|GPIO_PIN_1;
  GPIO_InitStruct.Mode = GPIO_MODE_ANALOG;
  GPIO_InitStruct.Pull = GPIO_NOPULL;
  HAL_GPIO_Init(GPIOE, &GPIO_InitStruct);

  /*Configure GPIO pin : RTD_Go_Pin */
  GPIO_InitStruct.Pin = RTD_Go_Pin;
  GPIO_InitStruct.Mode = GPIO_MODE_INPUT;
  GPIO_InitStruct.Pull = GPIO_PULLUP;
  HAL_GPIO_Init(RTD_Go_GPIO_Port, &GPIO_InitStruct);

  /*Configure GPIO pins : PC13 PC1 PC2 PC4
                           PC6 PC7 PC8 PC9
                           PC10 PC11 PC12 */
  GPIO_InitStruct.Pin = GPIO_PIN_13|GPIO_PIN_1|GPIO_PIN_2|GPIO_PIN_4
                          |GPIO_PIN_6|GPIO_PIN_7|GPIO_PIN_8|GPIO_PIN_9
                          |GPIO_PIN_10|GPIO_PIN_11|GPIO_PIN_12;
  GPIO_InitStruct.Mode = GPIO_MODE_ANALOG;
  GPIO_InitStruct.Pull = GPIO_NOPULL;
  HAL_GPIO_Init(GPIOC, &GPIO_InitStruct);

  /*Configure GPIO pins : PF2 PF8 PF11 */
  GPIO_InitStruct.Pin = GPIO_PIN_2|GPIO_PIN_8|GPIO_PIN_11;
  GPIO_InitStruct.Mode = GPIO_MODE_ANALOG;
  GPIO_InitStruct.Pull = GPIO_NOPULL;
  HAL_GPIO_Init(GPIOF, &GPIO_InitStruct);

  /*Configure GPIO pins : MTR_EN_Pin Buzzer_Pin */
  GPIO_InitStruct.Pin = MTR_EN_Pin|Buzzer_Pin;
  GPIO_InitStruct.Mode = GPIO_MODE_OUTPUT_PP;
  GPIO_InitStruct.Pull = GPIO_NOPULL;
  GPIO_InitStruct.Speed = GPIO_SPEED_FREQ_LOW;
  HAL_GPIO_Init(GPIOF, &GPIO_InitStruct);

  /*Configure GPIO pins : PA1 PA2 PA4 PA6
                           PA8 PA9 PA10 PA11
                           PA12 PA15 */
  GPIO_InitStruct.Pin = GPIO_PIN_1|GPIO_PIN_2|GPIO_PIN_4|GPIO_PIN_6
                          |GPIO_PIN_8|GPIO_PIN_9|GPIO_PIN_10|GPIO_PIN_11
                          |GPIO_PIN_12|GPIO_PIN_15;
  GPIO_InitStruct.Mode = GPIO_MODE_ANALOG;
  GPIO_InitStruct.Pull = GPIO_NOPULL;
  HAL_GPIO_Init(GPIOA, &GPIO_InitStruct);

  /*Configure GPIO pins : Cascadia_ON_Pin Firmware_Ok_Pin */
  GPIO_InitStruct.Pin = Cascadia_ON_Pin|Firmware_Ok_Pin;
  GPIO_InitStruct.Mode = GPIO_MODE_OUTPUT_PP;
  GPIO_InitStruct.Pull = GPIO_NOPULL;
  GPIO_InitStruct.Speed = GPIO_SPEED_FREQ_LOW;
  HAL_GPIO_Init(GPIOA, &GPIO_InitStruct);

  /*Configure GPIO pin : TSAL_HV_SIG_Pin */
  GPIO_InitStruct.Pin = TSAL_HV_SIG_Pin;
  GPIO_InitStruct.Mode = GPIO_MODE_INPUT;
  GPIO_InitStruct.Pull = GPIO_PULLDOWN;
  HAL_GPIO_Init(TSAL_HV_SIG_GPIO_Port, &GPIO_InitStruct);

  /*Configure GPIO pins : PB0 PB10 PB11 PB12
                           PB13 PB14 PB15 PB4
                           PB5 PB6 PB7 PB9 */
  GPIO_InitStruct.Pin = GPIO_PIN_0|GPIO_PIN_10|GPIO_PIN_11|GPIO_PIN_12
                          |GPIO_PIN_13|GPIO_PIN_14|GPIO_PIN_15|GPIO_PIN_4
                          |GPIO_PIN_5|GPIO_PIN_6|GPIO_PIN_7|GPIO_PIN_9;
  GPIO_InitStruct.Mode = GPIO_MODE_ANALOG;
  GPIO_InitStruct.Pull = GPIO_NOPULL;
  HAL_GPIO_Init(GPIOB, &GPIO_InitStruct);

  /*Configure GPIO pin : MTR_Fault_Pin */
  GPIO_InitStruct.Pin = MTR_Fault_Pin;
  GPIO_InitStruct.Mode = GPIO_MODE_INPUT;
  GPIO_InitStruct.Pull = GPIO_PULLUP;
  HAL_GPIO_Init(MTR_Fault_GPIO_Port, &GPIO_InitStruct);

  /*Configure GPIO pins : MTR_Ok_Pin IMD_Fail_Pin BMS_Fail_Pin */
  GPIO_InitStruct.Pin = MTR_Ok_Pin|IMD_Fail_Pin|BMS_Fail_Pin;
  GPIO_InitStruct.Mode = GPIO_MODE_INPUT;
  GPIO_InitStruct.Pull = GPIO_PULLUP;
  HAL_GPIO_Init(GPIOF, &GPIO_InitStruct);

  /*Configure GPIO pins : PG0 PG1 PG2 PG3
                           PG4 PG5 PG6 PG7
                           PG9 PG10 PG11 PG15 */
  GPIO_InitStruct.Pin = GPIO_PIN_0|GPIO_PIN_1|GPIO_PIN_2|GPIO_PIN_3
                          |GPIO_PIN_4|GPIO_PIN_5|GPIO_PIN_6|GPIO_PIN_7
                          |GPIO_PIN_9|GPIO_PIN_10|GPIO_PIN_11|GPIO_PIN_15;
  GPIO_InitStruct.Mode = GPIO_MODE_ANALOG;
  GPIO_InitStruct.Pull = GPIO_NOPULL;
  HAL_GPIO_Init(GPIOG, &GPIO_InitStruct);

  /*Configure GPIO pin : BSPD_OK_Pin */
  GPIO_InitStruct.Pin = BSPD_OK_Pin;
  GPIO_InitStruct.Mode = GPIO_MODE_INPUT;
  GPIO_InitStruct.Pull = GPIO_PULLDOWN;
  HAL_GPIO_Init(BSPD_OK_GPIO_Port, &GPIO_InitStruct);

  /*Configure GPIO pins : PD10 PD11 PD12 PD13
                           PD15 PD2 PD3 PD4
                           PD5 PD6 PD7 */
  GPIO_InitStruct.Pin = GPIO_PIN_10|GPIO_PIN_11|GPIO_PIN_12|GPIO_PIN_13
                          |GPIO_PIN_15|GPIO_PIN_2|GPIO_PIN_3|GPIO_PIN_4
                          |GPIO_PIN_5|GPIO_PIN_6|GPIO_PIN_7;
  GPIO_InitStruct.Mode = GPIO_MODE_ANALOG;
  GPIO_InitStruct.Pull = GPIO_NOPULL;
  HAL_GPIO_Init(GPIOD, &GPIO_InitStruct);

  /*Configure GPIO pin : Brake_Light_Pin */
  GPIO_InitStruct.Pin = Brake_Light_Pin;
  GPIO_InitStruct.Mode = GPIO_MODE_OUTPUT_PP;
  GPIO_InitStruct.Pull = GPIO_NOPULL;
  GPIO_InitStruct.Speed = GPIO_SPEED_FREQ_LOW;
  HAL_GPIO_Init(Brake_Light_GPIO_Port, &GPIO_InitStruct);

  /*Configure GPIO pin : SPI6_NSS_Pin */
  GPIO_InitStruct.Pin = SPI6_NSS_Pin;
  GPIO_InitStruct.Mode = GPIO_MODE_OUTPUT_PP;
  GPIO_InitStruct.Pull = GPIO_NOPULL;
  GPIO_InitStruct.Speed = GPIO_SPEED_FREQ_LOW;
  HAL_GPIO_Init(SPI6_NSS_GPIO_Port, &GPIO_InitStruct);

}

__weak void dev_task_fn(void *argument)
{
  for(;;)
  {
    osDelay(1);
  }
}

void HAL_TIM_PeriodElapsedCallback(TIM_HandleTypeDef *htim)
{
  if (htim->Instance == TIM7)
  {
    HAL_IncTick();
  }
}

void Error_Handler(void)
{
  /* USER CODE BEGIN Error_Handler_Debug */
  /* User can add his own implementation to report the HAL error return state */
  ecu_force_safe_outputs();
  __disable_irq();
  while (1)
  {
  }
  /* USER CODE END Error_Handler_Debug */
}

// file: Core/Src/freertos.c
/* USER CODE BEGIN Header */
/**
  ******************************************************************************
  * File Name          : freertos.c
  * Description        : Code for freertos applications
  ******************************************************************************
  * @attention
  *
  * Copyright (c) 2024 STMicroelectronics.
  * All rights reserved.
  *
  * This software is licensed under terms that can be found in the LICENSE file
  * in the root directory of this software component.
  * If no LICENSE file comes with this software, it is provided AS-IS.
  *
  ******************************************************************************
  */
/* USER CODE END Header */

#include "FreeRTOS.h"
#include "task.h"
#include "main.h"

/* USER CODE BEGIN Includes */
#include "app.h"
/* USER CODE END Includes */

/* Hook prototypes */
void vApplicationStackOverflowHook(xTaskHandle xTask, signed char *pcTaskName);
void vApplicationMallocFailedHook(void);

/* USER CODE BEGIN 4 */
void vApplicationStackOverflowHook(xTaskHandle xTask, signed char *pcTaskName)
{
   /* Run time stack overflow checking is performed if
   configCHECK_FOR_STACK_OVERFLOW is defined to 1 or 2. This hook function is
   called if a stack overflow is detected. */
   (void)xTask;
   (void)pcTaskName;
   ecu_force_safe_outputs();
   taskDISABLE_INTERRUPTS();
   for(;;)
   {
   }
}

void vApplicationMallocFailedHook(void)
{
   ecu_force_safe_outputs();
   taskDISABLE_INTERRUPTS();
   for(;;)
   {
   }
}
/* USER CODE END 4 */
